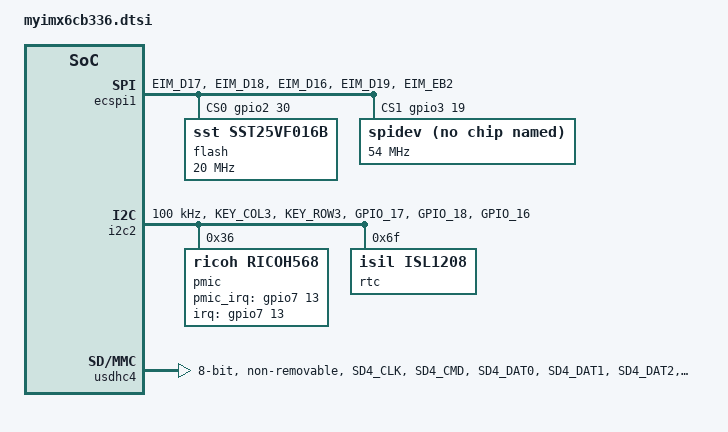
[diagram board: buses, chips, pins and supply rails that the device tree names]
/*
 * MYZR Technology Co.,Ltd
 * http://www.myzr.com.cn
 * Tang Bin <tangb@myzr.com.cn>
 */

&ecspi1 {
	pinctrl-names = "default";
	pinctrl-0 = <&pinctrl_eim_spi1>, <&pinctrl_eim_spi1_io>;
	fsl,spi-num-chipselects = <2>;
	cs-gpios = <&gpio2 30 0>, <&gpio3 19 0>;
	status = "okay";

	flash: m25p80@0 {
		#address-cells = <1>;
		#size-cells = <1>;
		compatible = "sst,sst25vf016b";
		reg = <0>;
		spi-max-frequency = <20000000>;
	};
	
	spidev: spi@1 {
		compatible = "spidev";
		reg = <1>;
		spi-max-frequency = <54000000>;
	};
};

&i2c2 {
	clock-frequency = <100000>;
	pinctrl-names = "default";
	pinctrl-0 = <&pinctrl_key_i2c2>, <&pinctrl_gpio_pmic_io>, <&pinctrl_gpio_rtc_io>;
	status = "okay";
	
	/* PMIC */
	pmic: ricoh568@36{
		compatible = "ricoh,ricoh568";
		reg = <0x36>;
		pmic_irq_gpio = <&gpio7 13 0>;
		interrupt-parent = <&gpio7>;
		interrupts = <13 0>;
		status = "okay";
	};

	rtc: isl1208@6f {
		compatible = "isil,isl1208";
		reg = <0x6f>;
	};
};

&usdhc4 {
	pinctrl-names = "default";
	pinctrl-0 = <&pinctrl_sd4_sd4>;
	bus-width = <8>;
	non-removable;
	no-1-8-v;
	keep-power-in-suspend;
	status = "okay";
};

&iomuxc {
	myimx6cb336 {
		pinctrl_eim_spi1: eim_spi1grp {
			fsl,pins = <
				MX6QDL_PAD_EIM_D17__ECSPI1_MISO		0x100b1
				MX6QDL_PAD_EIM_D18__ECSPI1_MOSI		0x100b1
				MX6QDL_PAD_EIM_D16__ECSPI1_SCLK		0x100b1
			>;
		};
		pinctrl_eim_spi1_io: eim_spi1_iogrp {
			fsl,pins = <
				/* SPI1_CS1 */
				MX6QDL_PAD_EIM_D19__GPIO3_IO19		0x80000000
				/* SPI1_CS0 */
				MX6QDL_PAD_EIM_EB2__GPIO2_IO30		0x80000000
			>;
		};
		
		pinctrl_sd4_sd4: sd4_sd4grp {
			fsl,pins = <
				MX6QDL_PAD_SD4_CLK__SD4_CLK			0x10059
				MX6QDL_PAD_SD4_CMD__SD4_CMD			0x17059
				MX6QDL_PAD_SD4_DAT0__SD4_DATA0		0x17059
				MX6QDL_PAD_SD4_DAT1__SD4_DATA1		0x17059
				MX6QDL_PAD_SD4_DAT2__SD4_DATA2		0x17059
				MX6QDL_PAD_SD4_DAT3__SD4_DATA3		0x17059
				MX6QDL_PAD_SD4_DAT4__SD4_DATA4		0x17059
				MX6QDL_PAD_SD4_DAT5__SD4_DATA5		0x17059
				MX6QDL_PAD_SD4_DAT6__SD4_DATA6		0x17059
				MX6QDL_PAD_SD4_DAT7__SD4_DATA7		0x17059
			>;
		};
		
		pinctrl_key_i2c2: key_i2c2grp {
			fsl,pins = <
				MX6QDL_PAD_KEY_COL3__I2C2_SCL		0x4001b8b1
				MX6QDL_PAD_KEY_ROW3__I2C2_SDA		0x4001b8b1
			>;
		};
		
		pinctrl_gpio_pmic_io: gpio_pmic_iogrp {
			fsl,pins = <
				/* RT568,GPIO2: PSHOLD_PMU */
				MX6QDL_PAD_GPIO_17__GPIO7_IO12		0x80000000
				/* RT568,INTB: INT_PMU */
				MX6QDL_PAD_GPIO_18__GPIO7_IO13		0x80000000
			>;
		};
		
		pinctrl_gpio_rtc_io: gpio_rtc_iogrp {
			fsl,pins = <
				/* ISL1208: nRQ/FOUT */
				MX6QDL_PAD_GPIO_16__GPIO7_IO11		0x80000000
			>;
		};
	};
};
